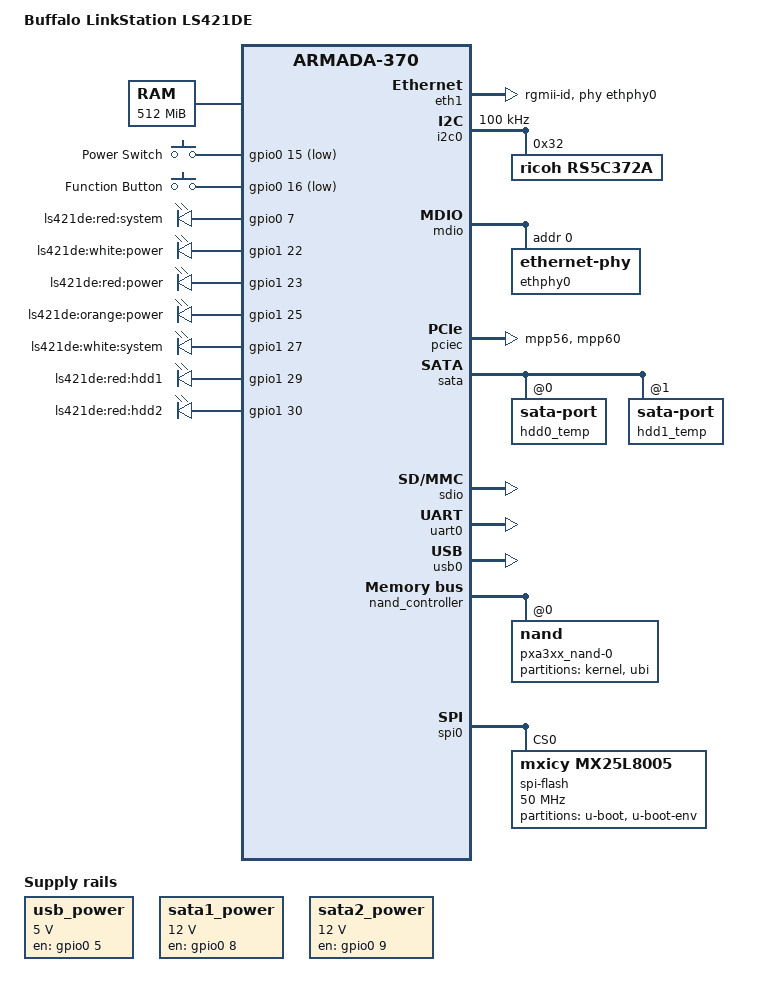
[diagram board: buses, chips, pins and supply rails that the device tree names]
// SPDX-License-Identifier: (GPL-2.0-or-later OR MIT)
/*
 * Device Tree file for Buffalo LinkStation LS421DE
 *
 * Copyright (C) 2020 Daniel González Cabanelas <dgcbueu@gmail.com>
 */

/dts-v1/;

#include "armada-370.dtsi"
#include "mvebu-linkstation-fan.dtsi"
#include <dt-bindings/gpio/gpio.h>
#include <dt-bindings/input/input.h>
#include <dt-bindings/thermal/thermal.h>

/ {
	model = "Buffalo LinkStation LS421DE";
	compatible = "buffalo,ls421de", "marvell,armada370", "marvell,armada-370-xp";

	aliases {
		led-boot = &led_boot;
		led-failsafe = &led_failsafe;
		led-running = &led_power;
		led-upgrade = &led_upgrade;
	};

	chosen {
		bootargs = "earlycon";
		stdout-path = "serial0:115200n8";
		append-rootblock = "nullparameter="; /* override the bootloader args */
	};

	memory {
		device_type = "memory";
		reg = <0x00000000 0x20000000>; /* 512 MB */
	};

	soc {
		ranges = <MBUS_ID(0xf0, 0x01) 0 0xd0000000 0x100000
			  MBUS_ID(0x01, 0xe0) 0 0xfff00000 0x100000
			  MBUS_ID(0x09, 0x01) 0 0xf1100000 0x10000>;
	};

	system_fan: gpio_fan {
		gpios = <&gpio0 13 GPIO_ACTIVE_HIGH
			 &gpio0 14 GPIO_ACTIVE_HIGH>;
		alarm-gpios = <&gpio0 10 GPIO_ACTIVE_HIGH>;

		#cooling-cells = <2>;
	};

	thermal-zones {
		hdd-thermal {
			polling-delay = <20000>;
			polling-delay-passive = <2000>;

			thermal-sensors = <&hdd0_temp>; /* only one drivetemp sensor is supported */

			trips {
				hdd_alert1: trip1 {
					temperature = <36000>;
					hysteresis = <2000>;
					type = "active";
				};
				hdd_alert2: trip2 {
					temperature = <44000>;
					hysteresis = <2000>;
					type = "active";
				};
				hdd_alert3: trip3 {
					temperature = <52000>;
					hysteresis = <2000>;
					type = "passive";
				};
				hdd_crit: trip4 {
					temperature = <60000>;
					hysteresis = <2000>;
					type = "critical";
				};
			};

			cooling-maps {
				map1 {
					trip = <&hdd_alert1>;
					cooling-device = <&system_fan THERMAL_NO_LIMIT 1>;
				};
				map2 {
					trip = <&hdd_alert2>;
					cooling-device = <&system_fan 2 2>;
				};
				map3 {
					trip = <&hdd_alert3>;
					cooling-device = <&system_fan 3 THERMAL_NO_LIMIT>;
				};
			};
		};

		ethphy-thermal {
			polling-delay = <20000>;
			polling-delay-passive = <2000>;

			thermal-sensors = <&ethphy0>;

			trips {
				ethphy_alert1: trip1 {
					temperature = <65000>;
					hysteresis = <4000>;
					type = "passive";
				};

				ethphy_crit: trip2 {
					temperature = <100000>;
					hysteresis = <2000>;
					type = "critical";
				};
			};

			cooling-maps {
				map1 {
					trip = <&ethphy_alert1>;
					cooling-device = <&system_fan THERMAL_NO_LIMIT THERMAL_NO_LIMIT>;
				};

			};
		};
	};

	gpio_keys {
		compatible = "gpio-keys";
		pinctrl-0 = <&pmx_buttons>;
		pinctrl-names = "default";

		power {
			label = "Power Switch";
			linux,code = <KEY_POWER>;
			linux,input-type = <EV_SW>;
			gpios = <&gpio0 15 GPIO_ACTIVE_LOW>;
		};

		function {
			label = "Function Button";
			linux,code = <KEY_CONFIG>;
			gpios = <&gpio0 16 GPIO_ACTIVE_LOW>;
		};
	};

	gpio_leds {
		compatible = "gpio-leds";
		pinctrl-names = "default";
		pinctrl-0 = <&pmx_leds1 &pmx_leds2>;

		system_red {
			label = "ls421de:red:system";
			gpios = <&gpio0 7 GPIO_ACTIVE_HIGH>;
		};

		led_power: power_white {
			label = "ls421de:white:power";
			gpios = <&gpio1 22 GPIO_ACTIVE_HIGH>;
			default-state = "on";
		};

		led_failsafe: power_red {
			label = "ls421de:red:power";
			gpios = <&gpio1 23 GPIO_ACTIVE_HIGH>;
		};

		led_upgrade: power_orange {
			label = "ls421de:orange:power";
			gpios = <&gpio1 25 GPIO_ACTIVE_HIGH>;
		};

		led_boot: system_white {
			label = "ls421de:white:system";
			gpios = <&gpio1 27 GPIO_ACTIVE_HIGH>;
		};

		hdd1_red {
			label = "ls421de:red:hdd1";
			gpios = <&gpio1 29 GPIO_ACTIVE_HIGH>;
			linux,default-trigger = "ata1";
		};

		hdd2_red {
			label = "ls421de:red:hdd2";
			gpios = <&gpio1 30 GPIO_ACTIVE_HIGH>;
			linux,default-trigger = "ata2";
		};
	};

	regulators {
		compatible = "simple-bus";
		#address-cells = <1>;
		#size-cells = <0>;
		pinctrl-0 = <&pmx_power_usb &pmx_power_hdd1 &pmx_power_hdd2>;
		pinctrl-names = "default";

		usb_power: regulator@0 {
			compatible = "regulator-fixed";
			reg = <0>;
			regulator-name = "USB";
			regulator-min-microvolt = <5000000>;
			regulator-max-microvolt = <5000000>;
			enable-active-high;
			regulator-always-on;
			regulator-boot-on;
			gpio = <&gpio0 5 GPIO_ACTIVE_HIGH>;
		};

		sata1_power: regulator@1 {
			compatible = "regulator-fixed";
			reg = <1>;
			regulator-name = "HDD1";
			regulator-min-microvolt = <12000000>;
			regulator-max-microvolt = <12000000>;
			startup-delay-us = <2000000>;
			enable-active-high;
			regulator-always-on;
			regulator-boot-on;
			gpio = <&gpio0 8 GPIO_ACTIVE_HIGH>;
		};

		sata2_power: regulator@2 {
			compatible = "regulator-fixed";
			reg = <2>;
			regulator-name = "HDD2";
			regulator-min-microvolt = <12000000>;
			regulator-max-microvolt = <12000000>;
			startup-delay-us = <4000000>;
			enable-active-high;
			regulator-always-on;
			regulator-boot-on;
			gpio = <&gpio0 9 GPIO_ACTIVE_HIGH>;
		};
	};
};

&coherencyfab {
	broken-idle;
};

&eth1 {
	pinctrl-0 = <&ge1_rgmii_pins>;
	pinctrl-names = "default";
	status = "okay";
	phy-handle = <&ethphy0>;
	phy-connection-type = "rgmii-id";
};

&i2c0 {
	pinctrl-0 = <&i2c0_pins>;
	pinctrl-names = "default";
	clock-frequency = <100000>;
	status = "okay";

	rs5c372a: rs5c372a@32 {
		compatible = "ricoh,rs5c372a";
		reg = <0x32>;
		wakeup-source;
	};
};

&mdio {
	pinctrl-0 = <&mdio_pins>;
	pinctrl-names = "default";

	ethphy0: ethernet-phy@0 { /* Marvell 88E1518 */
		reg = <0>;
		marvell,reg-init = <0x2 0x10 0xffff 0x0006>, /* disable CLK125 */
				   <0x3 0x10 0x0000 0x1991>, /* LED function */
				   <0x3 0x11 0x0000 0x4401>, /* LED polarity */
				   <0x3 0x12 0x0000 0x4905>; /* LED timer */
		#thermal-sensor-cells = <0>;
	};
};

&pciec {
	status = "okay";
	pinctrl-0 = <&pmx_pcie>;
	pinctrl-names = "default";

	/* Connected to uPD720202 USB 3.0 Host */
	pcie@1,0 {
		status = "okay";
	};
};

&pmsu {
	pinctrl-0 = <&pmx_power_cpu>;
	pinctrl-names = "default";
};

&rtc {
	status = "disabled";
};

&sata {
	nr-ports = <2>;
	status = "okay";
	#address-cells = <1>;
	#size-cells = <0>;

	hdd0_temp: sata-port@0 {
		reg = <0>;
		#thermal-sensor-cells = <0>;
	};

	hdd1_temp: sata-port@1 {
		reg = <1>;
		#thermal-sensor-cells = <0>;
	};
};

&sdio {
	pinctrl-0 = <&sdio_pins2>;
	pinctrl-names = "default";
	status = "okay";
	/* No CD or WP GPIOs */
	broken-cd;
};

&uart0 {
	status = "okay";
};

&usb0 {
	status = "okay";
};

&nand_controller {
	status = "okay";

	nand@0 {
		reg = <0>;
		label = "pxa3xx_nand-0";
		nand-rb = <0>;
		marvell,nand-keep-config;
		nand-on-flash-bbt;
		nand-ecc-strength = <4>;
		nand-ecc-step-size = <512>;

		partitions {
			compatible = "fixed-partitions";
			#address-cells = <1>;
			#size-cells = <1>;

			partition@0 {
				label = "kernel";
				reg = <0x00000000 0x02000000>;  /* 32 MiB */
			};

			partition@2000000 {
				label = "ubi";
				reg = <0x02000000 0x1e000000>;  /* 480 MiB */
			};
		};
	};
};

&spi0 {
	status = "okay";
	pinctrl-0 = <&spi0_pins2>;
	pinctrl-names = "default";

	spi-flash@0 {
		compatible = "mxicy,mx25l8005", "jedec,spi-nor";
		reg = <0>; /* Chip select 0 */
		spi-max-frequency = <50000000>;

		partitions {
			compatible = "fixed-partitions";
			#address-cells = <1>;
			#size-cells = <1>;

			partition@0 {
				reg = <0x00000 0xf0000>; /* 960 KiB*/
				label = "u-boot";
				read-only;
			};
			partition@f0000 {
				reg = <0xf0000 0x10000>; /* 64 KiB */
				label = "u-boot-env";
			};
		};
	};
};

&pinctrl {
	pmx_power_cpu: pmx-power-cpu {
		marvell,pins = "mpp4";
		marvell,function = "vdd";
	};

	pmx_power_usb: pmx-power-usb {
		marvell,pins = "mpp5";
		marvell,function = "gpo";
	};

	pmx_power_hdd1: pmx-power-hdd1 {
		marvell,pins = "mpp8";
		marvell,function = "gpio";
	};

	pmx_power_hdd2: pmx-power-hdd2 {
		marvell,pins = "mpp9";
		marvell,function = "gpo";
	};

	pmx_fan_lock: pmx-fan-lock {
		marvell,pins = "mpp10";
		marvell,function = "gpio";
	};

	pmx_hdd_present: pmx-hdd-present {
		marvell,pins = "mpp11", "mpp12";
		marvell,function = "gpio";
	};

	pmx_fan_high: pmx-fan-high {
		marvell,pins = "mpp13";
		marvell,function = "gpio";
	};

	pmx_fan_low: pmx-fan-low {
		marvell,pins = "mpp14";
		marvell,function = "gpio";
	};

	pmx_buttons: pmx-buttons {
		marvell,pins = "mpp15", "mpp16";
		marvell,function = "gpio";
	};

	pmx_leds1: pmx-leds {
		marvell,pins = "mpp7", "mpp54", "mpp59", "mpp61";
		marvell,function = "gpo";
	};

	pmx_leds2: pmx-leds {
		marvell,pins = "mpp55", "mpp57", "mpp62";
		marvell,function = "gpio";
	};

	pmx_pcie: pmx-pcie {
		marvell,pins = "mpp56", "mpp60";
		marvell,function = "pcie";
	};
};
